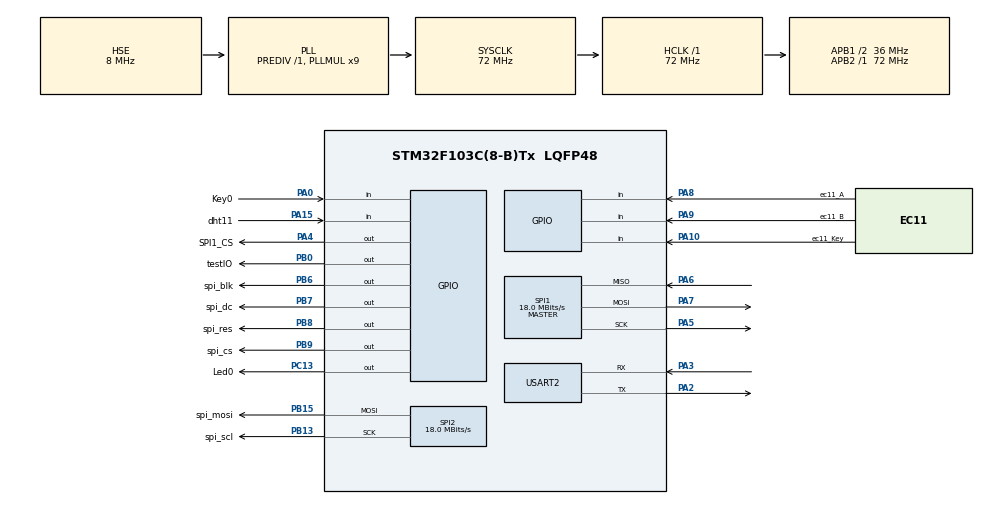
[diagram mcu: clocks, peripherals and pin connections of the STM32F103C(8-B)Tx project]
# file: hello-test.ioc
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Dma.Request0=SPI2_TX
Dma.Request1=SPI1_RX
Dma.Request2=SPI1_TX
Dma.Request3=USART2_RX
Dma.SPI1_RX.1.Direction=DMA_PERIPH_TO_MEMORY
Dma.SPI1_RX.1.Instance=DMA1_Channel2
Dma.SPI1_RX.1.MemDataAlignment=DMA_MDATAALIGN_BYTE
Dma.SPI1_RX.1.MemInc=DMA_MINC_ENABLE
Dma.SPI1_RX.1.Mode=DMA_NORMAL
Dma.SPI1_RX.1.PeriphDataAlignment=DMA_PDATAALIGN_BYTE
Dma.SPI1_RX.1.PeriphInc=DMA_PINC_DISABLE
Dma.SPI1_RX.1.Priority=DMA_PRIORITY_LOW
Dma.SPI1_TX.2.Direction=DMA_MEMORY_TO_PERIPH
Dma.SPI1_TX.2.Instance=DMA1_Channel3
Dma.SPI1_TX.2.MemDataAlignment=DMA_MDATAALIGN_BYTE
Dma.SPI1_TX.2.MemInc=DMA_MINC_ENABLE
Dma.SPI1_TX.2.Mode=DMA_NORMAL
Dma.SPI1_TX.2.PeriphDataAlignment=DMA_PDATAALIGN_BYTE
Dma.SPI1_TX.2.PeriphInc=DMA_PINC_DISABLE
Dma.SPI1_TX.2.Priority=DMA_PRIORITY_LOW
Dma.SPI2_TX.0.Direction=DMA_MEMORY_TO_PERIPH
Dma.SPI2_TX.0.Instance=DMA1_Channel5
Dma.SPI2_TX.0.MemDataAlignment=DMA_MDATAALIGN_BYTE
Dma.SPI2_TX.0.MemInc=DMA_MINC_ENABLE
Dma.SPI2_TX.0.Mode=DMA_NORMAL
Dma.SPI2_TX.0.PeriphDataAlignment=DMA_PDATAALIGN_BYTE
Dma.SPI2_TX.0.PeriphInc=DMA_PINC_DISABLE
Dma.SPI2_TX.0.Priority=DMA_PRIORITY_LOW
Dma.USART2_RX.3.Direction=DMA_PERIPH_TO_MEMORY
Dma.USART2_RX.3.Instance=DMA1_Channel6
Dma.USART2_RX.3.MemDataAlignment=DMA_MDATAALIGN_BYTE
Dma.USART2_RX.3.MemInc=DMA_MINC_ENABLE
Dma.USART2_RX.3.Mode=DMA_NORMAL
Dma.USART2_RX.3.PeriphDataAlignment=DMA_PDATAALIGN_BYTE
Dma.USART2_RX.3.PeriphInc=DMA_PINC_DISABLE
Dma.USART2_RX.3.Priority=DMA_PRIORITY_LOW
Mcu.Family=STM32F1
Mcu.Name=STM32F103C(8-B)Tx
Mcu.Package=LQFP48
NVIC.DMA1_Channel2_IRQn=true\:0\:0\:false\:false\:true\:false\:true\:true
NVIC.DMA1_Channel3_IRQn=true\:0\:0\:false\:false\:true\:false\:true\:true
NVIC.DMA1_Channel5_IRQn=true\:0\:0\:false\:false\:true\:false\:true\:true
NVIC.DMA1_Channel6_IRQn=true\:0\:0\:false\:false\:true\:false\:true\:true
NVIC.PriorityGroup=NVIC_PRIORITYGROUP_4
NVIC.SPI1_IRQn=true\:0\:0\:false\:false\:true\:true\:true\:true
NVIC.SPI2_IRQn=true\:0\:0\:false\:false\:true\:true\:true\:true
NVIC.TIM4_IRQn=true\:0\:0\:false\:false\:true\:true\:true\:true
NVIC.USART2_IRQn=true\:0\:0\:false\:false\:true\:true\:true\:true
PA0-WKUP.GPIO_Label=Key0
PA0-WKUP.GPIO_PuPd=GPIO_PULLDOWN
PA0-WKUP.Signal=GPIO_Input
PA10.GPIO_Label=ec11_Key
PA10.GPIO_PuPd=GPIO_PULLUP
PA10.Signal=GPIO_Input
PA13.Mode=Serial_Wire
PA13.Signal=SYS_JTMS-SWDIO
PA14.Mode=Serial_Wire
PA14.Signal=SYS_JTCK-SWCLK
PA15.GPIO_Label=dht11
PA15.Signal=GPIO_Input
PA2.Mode=Asynchronous
PA2.Signal=USART2_TX
PA3.Mode=Asynchronous
PA3.Signal=USART2_RX
PA4.GPIO_Label=SPI1_CS
PA4.GPIO_PuPd=GPIO_PULLUP
PA4.GPIO_Speed=GPIO_SPEED_FREQ_HIGH
PA4.PinState=GPIO_PIN_SET
PA4.Signal=GPIO_Output
PA5.Mode=Full_Duplex_Master
PA5.Signal=SPI1_SCK
PA6.Mode=Full_Duplex_Master
PA6.Signal=SPI1_MISO
PA7.Mode=Full_Duplex_Master
PA7.Signal=SPI1_MOSI
PA8.GPIO_Label=ec11_A
PA8.GPIO_PuPd=GPIO_PULLUP
PA8.Signal=GPIO_Input
PA9.GPIO_Label=ec11_B
PA9.GPIO_PuPd=GPIO_PULLUP
PA9.Signal=GPIO_Input
PB0.GPIO_Label=testIO
PB0.GPIO_PuPd=GPIO_PULLUP
PB0.Signal=GPIO_Output
PB13.GPIO_Label=spi_scl
PB13.Mode=TX_Only_Simplex_Unidirect_Master
PB13.Signal=SPI2_SCK
PB15.GPIO_Label=spi_mosi
PB15.Mode=TX_Only_Simplex_Unidirect_Master
PB15.Signal=SPI2_MOSI
PB6.GPIO_Label=spi_blk
PB6.GPIO_PuPd=GPIO_PULLUP
PB6.PinState=GPIO_PIN_SET
PB6.Signal=GPIO_Output
PB7.GPIO_Label=spi_dc
PB7.GPIO_Speed=GPIO_SPEED_FREQ_HIGH
PB7.PinState=GPIO_PIN_SET
PB7.Signal=GPIO_Output
PB8.GPIO_Label=spi_res
PB8.GPIO_Speed=GPIO_SPEED_FREQ_HIGH
PB8.PinState=GPIO_PIN_SET
PB8.Signal=GPIO_Output
PB9.GPIO_Label=spi_cs
PB9.GPIO_Speed=GPIO_SPEED_FREQ_HIGH
PB9.PinState=GPIO_PIN_SET
PB9.Signal=GPIO_Output
PC13-TAMPER-RTC.GPIO_Label=Led0
PC13-TAMPER-RTC.PinState=GPIO_PIN_SET
PC13-TAMPER-RTC.Signal=GPIO_Output
PD0-OSC_IN.Mode=HSE-External-Oscillator
PD0-OSC_IN.Signal=RCC_OSC_IN
PD1-OSC_OUT.Mode=HSE-External-Oscillator
PD1-OSC_OUT.Signal=RCC_OSC_OUT
ProjectManager.HeapSize=0x200
ProjectManager.StackSize=0x400
ProjectManager.TargetToolchain=STM32CubeIDE
RCC.AHBFreq_Value=72000000
RCC.APB1CLKDivider=RCC_HCLK_DIV2
RCC.APB1Freq_Value=36000000
RCC.APB1TimFreq_Value=72000000
RCC.APB2Freq_Value=72000000
RCC.APB2TimFreq_Value=72000000
RCC.HCLKFreq_Value=72000000
RCC.PLLMUL=RCC_PLL_MUL9
RCC.PLLSourceVirtual=RCC_PLLSOURCE_HSE
RCC.SYSCLKFreq_VALUE=72000000
RCC.SYSCLKSource=RCC_SYSCLKSOURCE_PLLCLK
RCC.USBFreq_Value=72000000
SPI1.BaudRatePrescaler=SPI_BAUDRATEPRESCALER_4
SPI1.CalculateBaudRate=18.0 MBits/s
SPI1.Direction=SPI_DIRECTION_2LINES
SPI1.Mode=SPI_MODE_MASTER
SPI1.VirtualType=VM_MASTER
SPI2.CalculateBaudRate=18.0 MBits/s
SPI2.Direction=SPI_DIRECTION_2LINES
SPI2.Mode=SPI_MODE_MASTER
SPI2.VirtualType=VM_MASTER
TIM4.Period=10 - 1
TIM4.Prescaler=7200 - 1
USART2.VirtualMode=VM_ASYNC
VP_TIM4_VS_ClockSourceINT.Mode=Internal
board=custom

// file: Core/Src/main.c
/* USER CODE BEGIN Header */
/**
 ******************************************************************************
 * @file           : main.c
 * @brief          : Main program body
 ******************************************************************************
 * @attention
 *
 * Copyright (c) 2025 STMicroelectronics.
 * All rights reserved.
 *
 * This software is licensed under terms that can be found in the LICENSE file
 * in the root directory of this software component.
 * If no LICENSE file comes with this software, it is provided AS-IS.
 *
 ******************************************************************************
 */
/* USER CODE END Header */
#include "main.h"
#include "dma.h"
#include "spi.h"
#include "tim.h"
#include "usart.h"
#include "gpio.h"

/* USER CODE BEGIN Includes */
#include "ec11.h"
#include "dht11.h"
#include "protocol.h"
#include "st7735s.h"
#include "process_command.h"
#include "process_render.h"
#include "process_key.h"
#include <stdio.h>
#include <string.h>
#include <timer3.h>
/* USER CODE END Includes */

void SystemClock_Config(void);

/* USER CODE BEGIN 0 */
static uint32_t timerCounter = 0;
void HAL_TIM_PeriodElapsedCallback(TIM_HandleTypeDef *htim)
{
  timerCounter++;
  HAL_GPIO_TogglePin(testIO_GPIO_Port, testIO_Pin);
  Ec11StateMachineProcess();
  Dht11Process();
}

void ProcessDth11()
{
  static uint32_t lastTick = 0;
  uint32_t currentTick = HAL_GetTick();
  if (currentTick - lastTick < 1000)
  {
    return;
  }
  lastTick = currentTick;

  Dht11Result result;
  GetDht11Result(&result);
  static char message[100];
  sprintf(message, "humidity: %.2f, temperature: %.2f\n",
          result.humidity, result.temperature);
  send_data_safely(message, strlen(message));
}

/* USER CODE END 0 */

int main(void)
{

  /* MCU Configuration--------------------------------------------------------*/

  /* Reset of all peripherals, Initializes the Flash interface and the Systick. */
  HAL_Init();

  /* Configure the system clock */
  SystemClock_Config();

  /* Initialize all configured peripherals */
  MX_GPIO_Init();
  MX_DMA_Init();
  MX_TIM4_Init();
  MX_USART2_UART_Init();
  MX_SPI2_Init();
  MX_SPI1_Init();
  /* USER CODE BEGIN 2 */
  HAL_TIM_Base_Start_IT(&htim4);
  TIM3_Init();
  Ec11EncoderInit();
  LcdInit();
  ProtocolInit(GetProtocolDecoder());
  /* USER CODE END 2 */

  /* Infinite loop */
  /* USER CODE BEGIN WHILE */
  while (1)
  {
    ProcessKey();
    ProcessDth11();
    ProcessRender();
    ProcessCommand();
    /* USER CODE END WHILE */

  }
}

void SystemClock_Config(void)
{
  RCC_OscInitTypeDef RCC_OscInitStruct = {0};
  RCC_ClkInitTypeDef RCC_ClkInitStruct = {0};

  /** Initializes the RCC Oscillators according to the specified parameters
  * in the RCC_OscInitTypeDef structure.
  */
  RCC_OscInitStruct.OscillatorType = RCC_OSCILLATORTYPE_HSE;
  RCC_OscInitStruct.HSEState = RCC_HSE_ON;
  RCC_OscInitStruct.HSEPredivValue = RCC_HSE_PREDIV_DIV1;
  RCC_OscInitStruct.HSIState = RCC_HSI_ON;
  RCC_OscInitStruct.PLL.PLLState = RCC_PLL_ON;
  RCC_OscInitStruct.PLL.PLLSource = RCC_PLLSOURCE_HSE;
  RCC_OscInitStruct.PLL.PLLMUL = RCC_PLL_MUL9;
  if (HAL_RCC_OscConfig(&RCC_OscInitStruct) != HAL_OK)
  {
    Error_Handler();
  }

  /** Initializes the CPU, AHB and APB buses clocks
  */
  RCC_ClkInitStruct.ClockType = RCC_CLOCKTYPE_HCLK|RCC_CLOCKTYPE_SYSCLK
                              |RCC_CLOCKTYPE_PCLK1|RCC_CLOCKTYPE_PCLK2;
  RCC_ClkInitStruct.SYSCLKSource = RCC_SYSCLKSOURCE_PLLCLK;
  RCC_ClkInitStruct.AHBCLKDivider = RCC_SYSCLK_DIV1;
  RCC_ClkInitStruct.APB1CLKDivider = RCC_HCLK_DIV2;
  RCC_ClkInitStruct.APB2CLKDivider = RCC_HCLK_DIV1;

  if (HAL_RCC_ClockConfig(&RCC_ClkInitStruct, FLASH_LATENCY_2) != HAL_OK)
  {
    Error_Handler();
  }
}

void Error_Handler(void)
{
  __disable_irq();
  while (1)
  {
  }
}
